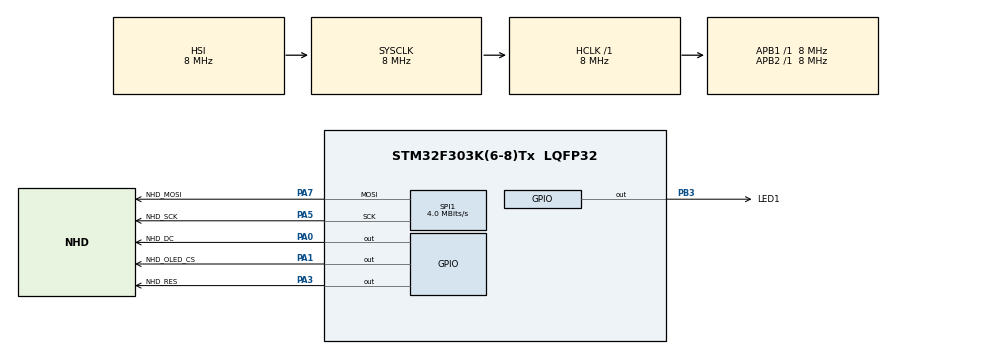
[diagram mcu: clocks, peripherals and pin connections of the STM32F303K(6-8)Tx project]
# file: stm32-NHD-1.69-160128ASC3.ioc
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Dma.Request0=SPI1_TX
Dma.SPI1_TX.0.Direction=DMA_MEMORY_TO_PERIPH
Dma.SPI1_TX.0.Instance=DMA1_Channel3
Dma.SPI1_TX.0.MemDataAlignment=DMA_MDATAALIGN_BYTE
Dma.SPI1_TX.0.MemInc=DMA_MINC_ENABLE
Dma.SPI1_TX.0.Mode=DMA_NORMAL
Dma.SPI1_TX.0.PeriphDataAlignment=DMA_PDATAALIGN_BYTE
Dma.SPI1_TX.0.PeriphInc=DMA_PINC_DISABLE
Dma.SPI1_TX.0.Priority=DMA_PRIORITY_LOW
Mcu.Family=STM32F3
Mcu.Name=STM32F303K(6-8)Tx
Mcu.Package=LQFP32
NVIC.DMA1_Channel3_IRQn=true\:0\:0\:false\:false\:true\:false\:true
NVIC.PriorityGroup=NVIC_PRIORITYGROUP_4
NVIC.SPI1_IRQn=true\:0\:0\:false\:false\:true\:true\:true
PA0.GPIO_Label=NHD_DC
PA0.Signal=GPIO_Output
PA1.GPIO_Label=NHD_OLED_CS
PA1.Signal=GPIO_Output
PA3.GPIO_Label=NHD_RES
PA3.Signal=GPIO_Output
PA5.GPIO_Label=NHD_SCK
PA5.Mode=TX_Only_Simplex_Unidirect_Master
PA5.Signal=SPI1_SCK
PA7.GPIO_Label=NHD_MOSI
PA7.Mode=TX_Only_Simplex_Unidirect_Master
PA7.Signal=SPI1_MOSI
PB3.GPIO_Label=LED1
PB3.Signal=GPIO_Output
ProjectManager.HeapSize=0x200
ProjectManager.StackSize=0x400
ProjectManager.TargetToolchain=Makefile
RCC.AHBFreq_Value=8000000
RCC.APB1Freq_Value=8000000
RCC.APB2Freq_Value=8000000
RCC.CortexFreq_Value=8000000
RCC.HSE_VALUE=8000000
RCC.HSI_VALUE=8000000
RCC.SYSCLKFreq_VALUE=8000000
SPI1.CLKPhase=SPI_PHASE_2EDGE
SPI1.CLKPolarity=SPI_POLARITY_HIGH
SPI1.CalculateBaudRate=4.0 MBits/s
SPI1.DataSize=SPI_DATASIZE_8BIT
SPI1.Direction=SPI_DIRECTION_2LINES
SPI1.Mode=SPI_MODE_MASTER
SPI1.VirtualType=VM_MASTER
board=NUCLEO-F303K8

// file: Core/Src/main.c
/* USER CODE BEGIN Header */
/**
  ******************************************************************************
  * @file           : main.c
  * @brief          : Main program body
  ******************************************************************************
  * @attention
  *
  * <h2><center>&copy; Copyright (c) 2020 STMicroelectronics.
  * All rights reserved.</center></h2>
  *
  * This software component is licensed by ST under BSD 3-Clause license,
  * the "License"; You may not use this file except in compliance with the
  * License. You may obtain a copy of the License at:
  *                        opensource.org/licenses/BSD-3-Clause
  *
  ******************************************************************************
  */
/* USER CODE END Header */
#include "main.h"

/* USER CODE BEGIN Includes */
#include <stdio.h>
/* USER CODE END Includes */

SPI_HandleTypeDef hspi1;
DMA_HandleTypeDef hdma_spi1_tx;

/* USER CODE BEGIN PV */
NHD_OLED_HandleTypeDef holed1;
uint8_t fastModeActive = 0;
/* USER CODE END PV */

void SystemClock_Config(void);
static void MX_GPIO_Init(void);
static void MX_DMA_Init(void);
static void MX_SPI1_Init(void);
/* USER CODE BEGIN PFP */
static void MX_OLED1_Init(void);
void MY_HAL_SPI_TX_COMPLETE(SPI_HandleTypeDef *hspi);
void MY_HAL_SPI_HTX_COMPLETE(SPI_HandleTypeDef *hspi);
HAL_StatusTypeDef HAL_SPI_Transmit_UltraFast(uint8_t *outp, uint8_t *inp, int count);
static void PrintResult(char* title, char* subtitle, uint32_t* result);
/* USER CODE END PFP */

int main(void)
{

  /* MCU Configuration--------------------------------------------------------*/

  /* Reset of all peripherals, Initializes the Flash interface and the Systick. */
  HAL_Init();

  /* Configure the system clock */
  SystemClock_Config();

  /* Initialize all configured peripherals */
  MX_GPIO_Init();
  MX_DMA_Init();
  MX_SPI1_Init();
  /* USER CODE BEGIN 2 */
  MX_OLED1_Init();
  uint32_t last = 0;
  uint32_t result[2] = {0, 0};
  NHD_OLED_FillScreen(&holed1, RGB565[1]);
  /* USER CODE END 2 */

  /* Infinite loop */
  /* USER CODE BEGIN WHILE */
  while (1)
  {
    for(fastModeActive = 0; fastModeActive < 2; fastModeActive++)
    {
      last = HAL_GetTick();
      for (size_t i = 0; i < 16; i++)
      {
        NHD_OLED_FillScreen(&holed1, RGB565[i]);
      }
      result[fastModeActive] = HAL_GetTick() - last;
    }
    PrintResult("Test #1 - FillScreen", "3 fills, 3 colors", result);

    for(fastModeActive = 0; fastModeActive < 2; fastModeActive++)
    {
      last = HAL_GetTick();
      for (size_t i = 1; i < 100; i++)
      {
        NHD_OLED_Text(&holed1, 0, (i*8) % 128, "0123456789", RGB565[i % 16], RGB565[0], &Font8);
      }
      result[fastModeActive] = HAL_GetTick() - last;
    }
    PrintResult("Test #2 - Text", "1000 char, 16 colors, 8px", result);

    for(fastModeActive = 0; fastModeActive < 2; fastModeActive++)
    {
      last = HAL_GetTick();
      for (size_t i = 1; i < 100; i++)
      {
        NHD_OLED_Text(&holed1, 0, (i*12) % 128, "0123456789", RGB565[i % 16], RGB565[0], &Font12);
      }
      result[fastModeActive] = HAL_GetTick() - last;
    }
    PrintResult("Test #2 - Text", "1000 char, 16 colors, 16px", result);
    /* USER CODE END WHILE */
  }
}

void SystemClock_Config(void)
{
  RCC_OscInitTypeDef RCC_OscInitStruct = {0};
  RCC_ClkInitTypeDef RCC_ClkInitStruct = {0};

  /** Initializes the RCC Oscillators according to the specified parameters
  * in the RCC_OscInitTypeDef structure.
  */
  RCC_OscInitStruct.OscillatorType = RCC_OSCILLATORTYPE_HSI;
  RCC_OscInitStruct.HSIState = RCC_HSI_ON;
  RCC_OscInitStruct.HSICalibrationValue = RCC_HSICALIBRATION_DEFAULT;
  RCC_OscInitStruct.PLL.PLLState = RCC_PLL_NONE;
  if (HAL_RCC_OscConfig(&RCC_OscInitStruct) != HAL_OK)
  {
    Error_Handler();
  }
  /** Initializes the CPU, AHB and APB buses clocks
  */
  RCC_ClkInitStruct.ClockType = RCC_CLOCKTYPE_HCLK|RCC_CLOCKTYPE_SYSCLK
                              |RCC_CLOCKTYPE_PCLK1|RCC_CLOCKTYPE_PCLK2;
  RCC_ClkInitStruct.SYSCLKSource = RCC_SYSCLKSOURCE_HSI;
  RCC_ClkInitStruct.AHBCLKDivider = RCC_SYSCLK_DIV1;
  RCC_ClkInitStruct.APB1CLKDivider = RCC_HCLK_DIV1;
  RCC_ClkInitStruct.APB2CLKDivider = RCC_HCLK_DIV1;

  if (HAL_RCC_ClockConfig(&RCC_ClkInitStruct, FLASH_LATENCY_0) != HAL_OK)
  {
    Error_Handler();
  }
}

static void MX_SPI1_Init(void)
{

  /* SPI1 parameter configuration*/
  hspi1.Instance = SPI1;
  hspi1.Init.Mode = SPI_MODE_MASTER;
  hspi1.Init.Direction = SPI_DIRECTION_2LINES;
  hspi1.Init.DataSize = SPI_DATASIZE_8BIT;
  hspi1.Init.CLKPolarity = SPI_POLARITY_HIGH;
  hspi1.Init.CLKPhase = SPI_PHASE_2EDGE;
  hspi1.Init.NSS = SPI_NSS_SOFT;
  hspi1.Init.BaudRatePrescaler = SPI_BAUDRATEPRESCALER_2;
  hspi1.Init.FirstBit = SPI_FIRSTBIT_MSB;
  hspi1.Init.TIMode = SPI_TIMODE_DISABLE;
  hspi1.Init.CRCCalculation = SPI_CRCCALCULATION_DISABLE;
  hspi1.Init.CRCPolynomial = 7;
  hspi1.Init.CRCLength = SPI_CRC_LENGTH_DATASIZE;
  hspi1.Init.NSSPMode = SPI_NSS_PULSE_DISABLE;
  if (HAL_SPI_Init(&hspi1) != HAL_OK)
  {
    Error_Handler();
  }
  /* USER CODE BEGIN SPI1_Init 2 */

  SET_BIT(SPI1->CR1, SPI_CR1_SPE); // Enable SPI
  if (HAL_SPI_RegisterCallback(&hspi1, HAL_SPI_TX_COMPLETE_CB_ID, MY_HAL_SPI_TX_COMPLETE) !=HAL_OK)
  {
    Error_Handler();
  }
  if (HAL_SPI_RegisterCallback(&hspi1, HAL_SPI_TX_HALF_COMPLETE_CB_ID, MY_HAL_SPI_HTX_COMPLETE) !=HAL_OK)
  {
    Error_Handler();
  }
  /* USER CODE END SPI1_Init 2 */

}

static void MX_DMA_Init(void)
{

  /* DMA controller clock enable */
  __HAL_RCC_DMA1_CLK_ENABLE();

  /* DMA interrupt init */
  /* DMA1_Channel3_IRQn interrupt configuration */
  HAL_NVIC_SetPriority(DMA1_Channel3_IRQn, 0, 0);
  HAL_NVIC_EnableIRQ(DMA1_Channel3_IRQn);

}

static void MX_GPIO_Init(void)
{
  GPIO_InitTypeDef GPIO_InitStruct = {0};

  /* GPIO Ports Clock Enable */
  __HAL_RCC_GPIOA_CLK_ENABLE();
  __HAL_RCC_GPIOB_CLK_ENABLE();

  /*Configure GPIO pin Output Level */
  HAL_GPIO_WritePin(GPIOA, NHD_DC_Pin|NHD_OLED_CS_Pin|NHD_RES_Pin, GPIO_PIN_RESET);

  /*Configure GPIO pin Output Level */
  HAL_GPIO_WritePin(LED1_GPIO_Port, LED1_Pin, GPIO_PIN_RESET);

  /*Configure GPIO pins : NHD_DC_Pin NHD_OLED_CS_Pin NHD_RES_Pin */
  GPIO_InitStruct.Pin = NHD_DC_Pin|NHD_OLED_CS_Pin|NHD_RES_Pin;
  GPIO_InitStruct.Mode = GPIO_MODE_OUTPUT_PP;
  GPIO_InitStruct.Pull = GPIO_NOPULL;
  GPIO_InitStruct.Speed = GPIO_SPEED_FREQ_HIGH;
  HAL_GPIO_Init(GPIOA, &GPIO_InitStruct);

  /*Configure GPIO pin : LED1_Pin */
  GPIO_InitStruct.Pin = LED1_Pin;
  GPIO_InitStruct.Mode = GPIO_MODE_OUTPUT_PP;
  GPIO_InitStruct.Pull = GPIO_NOPULL;
  GPIO_InitStruct.Speed = GPIO_SPEED_FREQ_HIGH;
  HAL_GPIO_Init(LED1_GPIO_Port, &GPIO_InitStruct);

}

/* USER CODE BEGIN 4 */
static void PrintResult(char* title, char* subtitle, uint32_t* results)
{
  char message[20];

  NHD_OLED_FillScreen(&holed1, RGB565[1]);

  uint16_t pos = 0;
  NHD_OLED_Text(&holed1, 0, pos, title, RGB565[14], RGB565[0], &Font12); pos+=14;
  NHD_OLED_Text(&holed1, 0, pos, subtitle, RGB565[15], RGB565[1], &Font8); pos+=10;

  for(size_t fm = 0; fm < 2; fm++)
  {
    uint32_t result = *(results+fm);
    if (fm)
    {
      sprintf(message, "Fast Mode: %lums", result);
    }
    else
    {
      sprintf(message, "Normal Mode: %lums", result);
    }
    NHD_OLED_Text(&holed1, 0, pos, message, RGB565[15], RGB565[1], &Font8); pos+=10;
  }
  HAL_Delay(10000);

  NHD_OLED_FillScreen(&holed1, RGB565[0]);
}

static void MX_OLED1_Init(void)
{
    holed1.RES_GPIO_Port = NHD_RES_GPIO_Port;
    holed1.RES_Pin = NHD_RES_Pin;
    holed1.CS_GPIO_Port = NHD_OLED_CS_GPIO_Port;
    holed1.CS_Pin = NHD_OLED_CS_Pin;
    holed1.DC_GPIO_Port = NHD_DC_GPIO_Port;
    holed1.DC_Pin = NHD_DC_Pin;
    holed1.LED_GPIO_Port= LED1_GPIO_Port;
    holed1.LED_Pin = LED1_Pin;
    holed1.hspi = &hspi1;

    NHD_OLED_Init(&holed1);
}

void NHD_OLED_DataWrite(NHD_OLED_HandleTypeDef* holed, uint8_t* pData, size_t size)
{
  if (fastModeActive)
  {
    uint8_t dummy = 0x00;
    if (HAL_SPI_Transmit_UltraFast(pData, &dummy, size) != HAL_OK)
    {
      Error_Handler();
    }
  }
  else
  {
    if (HAL_SPI_Transmit(&hspi1, pData, size, 5000) != HAL_OK)
    {
      Error_Handler();
    }
  }
}

void MY_HAL_SPI_TX_COMPLETE(SPI_HandleTypeDef *hspi)
{
}

void MY_HAL_SPI_HTX_COMPLETE(SPI_HandleTypeDef *hspi)
{
}

HAL_StatusTypeDef HAL_SPI_Transmit_UltraFast(uint8_t *outp, uint8_t *inp, int count)
{
  while(count--) {
      //while(!(SPI1->SR & SPI_SR_TXE));
      *(volatile uint8_t *)&SPI1->DR = *outp++;
      //while(!(SPI1->SR & SPI_SR_RXNE));
      //*inp++ = *(volatile uint8_t *)&SPI1->DR;
      //while(!(SPI1->SR & SPI_FLAG_FTLVL) != SPI_FTLVL_EMPTY);
      //while(!(SPI1->SR & SPI_FLAG_BSY) != RESET);
      //while(!(SPI1->SR & SPI_FLAG_FRLVL) != SPI_FRLVL_EMPTY);
  }
  asm volatile("nop");
  asm volatile("nop");
  asm volatile("nop");
  return HAL_OK;
}

/* USER CODE END 4 */

void Error_Handler(void)
{
  /* USER CODE BEGIN Error_Handler_Debug */
  /* User can add his own implementation to report the HAL error return state */
  //__disable_irq();
  while (1)
  {
    HAL_GPIO_TogglePin(LED1_GPIO_Port, LED1_Pin);
    HAL_Delay(100);
  }
  /* USER CODE END Error_Handler_Debug */
}

/************************ (C) COPYRIGHT STMicroelectronics *****END OF FILE****/
